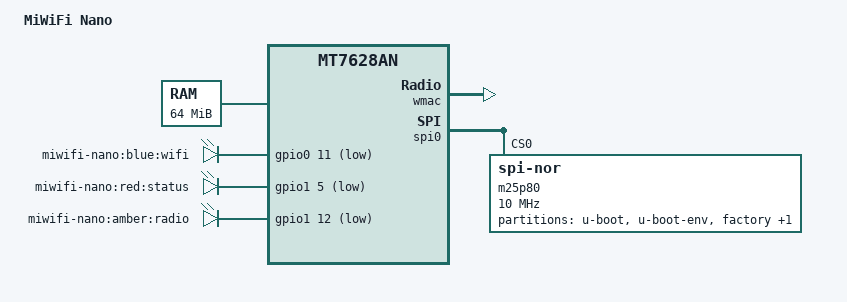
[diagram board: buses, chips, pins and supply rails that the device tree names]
/dts-v1/;

#include "mt7628an.dtsi"

/ {
	compatible = "xiaomi,MiWifi Nano", "mediatek,mt7628an-soc";
	model = "MiWiFi Nano";

	chosen {
		bootargs = "console=ttyS0,115200";
	};

	memory@0 {
		device_type = "memory";
		reg = <0x0 0x4000000>;
	};

	gpio-leds {
		compatible = "gpio-leds";

		wifi {
			label = "miwifi-nano:blue:wifi";
			gpios = <&gpio0 11 1>;
			default-state = "1";
		};
		status {
			label = "miwifi-nano:red:status";
			gpios = <&gpio1 5 1>;
			default-state = "on";
		};
		radio {
			label = "miwifi-nano:amber:radio";
			gpios = <&gpio1 12 1>;
			default-state = "1";

		};
	};
};

&pinctrl {
	state_default: pinctrl0 {
		gpio {
			ralink,group = "refclk", "wled", "gpio";
			ralink,function = "gpio";
		};
	};
};

&wmac {
	status = "okay";
};

&spi0 {
	status = "okay";

	m25p80@0 {
		#address-cells = <1>;
		#size-cells = <1>;
		compatible = "jedec,spi-nor";
		reg = <0>;
		linux,modalias = "m25p80";
		spi-max-frequency = <10000000>;
		m25p,chunked-io = <32>;

		partition@0 {
			label = "u-boot";
			reg = <0x0 0x30000>;
			read-only;
		};

		partition@30000 {
			label = "u-boot-env";
			reg = <0x30000 0x10000>;
			read-only;
		};

		factory: partition@40000 {
			label = "factory";
			reg = <0x40000 0x10000>;
			read-only;
		};

		partition@50000 {
			label = "firmware";
			reg = <0x50000 0x7b0000>;
		};
	};
};
